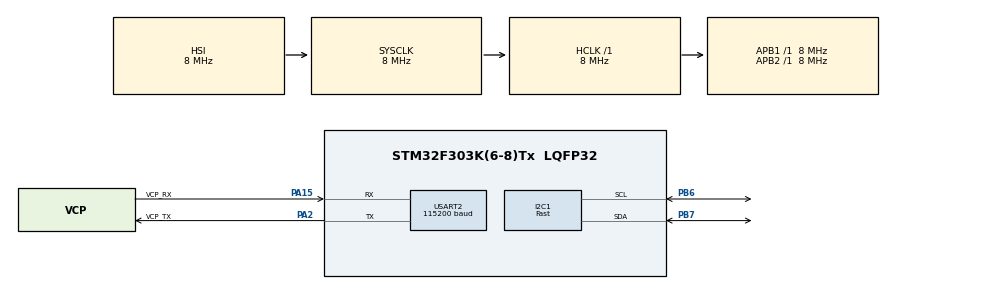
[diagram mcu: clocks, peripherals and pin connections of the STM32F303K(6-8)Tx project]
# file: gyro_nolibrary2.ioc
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I2C1.I2C_Speed_Mode=I2C_Fast
I2C1.Timing=0x0000020B
Mcu.Family=STM32F3
Mcu.Name=STM32F303K(6-8)Tx
Mcu.Package=LQFP32
NVIC.I2C1_ER_IRQn=true\:0\:0\:false\:false\:true\:true\:true\:true
NVIC.I2C1_EV_IRQn=true\:0\:0\:false\:false\:true\:true\:true\:true
NVIC.PriorityGroup=NVIC_PRIORITYGROUP_4
PA13.GPIO_Label=SWDIO
PA13.Mode=Serial_Wire
PA13.Signal=SYS_JTMS-SWDIO
PA14.GPIO_Label=SWCLK
PA14.Mode=Serial_Wire
PA14.Signal=SYS_JTCK-SWCLK
PA15.GPIO_Label=VCP_RX
PA15.Mode=Asynchronous
PA15.Signal=USART2_RX
PA2.GPIO_Label=VCP_TX
PA2.Mode=Asynchronous
PA2.Signal=USART2_TX
PB6.Mode=I2C
PB6.Signal=I2C1_SCL
PB7.Mode=I2C
PB7.Signal=I2C1_SDA
PF0\ /\ OSC_IN.GPIO_Label=MCO
PF0\ /\ OSC_IN.Mode=HSE-External-Clock-Source
PF0\ /\ OSC_IN.Signal=RCC_OSC_IN
ProjectManager.HeapSize=0x200
ProjectManager.StackSize=0x400
ProjectManager.TargetToolchain=STM32CubeIDE
RCC.AHBFreq_Value=8000000
RCC.APB1Freq_Value=8000000
RCC.APB2Freq_Value=8000000
RCC.CortexFreq_Value=8000000
RCC.HSE_VALUE=8000000
RCC.HSI_VALUE=8000000
RCC.SYSCLKFreq_VALUE=8000000
USART2.BaudRate=115200
USART2.VirtualMode-Asynchronous=VM_ASYNC
board=NUCLEO-F303K8

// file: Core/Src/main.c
/* USER CODE BEGIN Header */
/**
 ******************************************************************************
 * @file           : main.c
 * @brief          : Main program body
 ******************************************************************************
 * @attention
 *
 * Copyright (c) 2024 STMicroelectronics.
 * All rights reserved.
 *
 * This software is licensed under terms that can be found in the LICENSE file
 * in the root directory of this software component.
 * If no LICENSE file comes with this software, it is provided AS-IS.
 *
 ******************************************************************************
 */
/* USER CODE END Header */
#include "main.h"

I2C_HandleTypeDef hi2c1;

UART_HandleTypeDef huart2;

void SystemClock_Config(void);
static void MX_GPIO_Init(void);
static void MX_USART2_UART_Init(void);
static void MX_I2C1_Init(void);

int main(void) {

	/* MCU Configuration--------------------------------------------------------*/

	/* Reset of all peripherals, Initializes the Flash interface and the Systick. */
	HAL_Init();

	/* Configure the system clock */
	SystemClock_Config();

	/* Initialize all configured peripherals */
	MX_GPIO_Init();
	MX_USART2_UART_Init();
	MX_I2C1_Init();
	/* USER CODE BEGIN 2 */
	uint8_t buff;
	int intbuff=200;
	int number;
	char str[100];
	/* USER CODE END 2 */

	/* Infinite loop */
	/* USER CODE BEGIN WHILE */
	HAL_StatusTypeDef res;
	for (uint16_t i = 0; i < 128; i++) {
		res = HAL_I2C_IsDeviceReady(&hi2c1, i << 1, 1, 100);
		if (res == HAL_OK) {
			char msg[64];
			snprintf(msg, sizeof(msg), "0x%02X\r\n", i);
//			HAL_UART_Transmit(&huart2, (uint8_t*) msg, strlen(msg),
//			1000);
			number = i;
		}
	}
	HAL_StatusTypeDef res2;
	HAL_UART_Transmit(&huart2, (uint8_t*) "a", 10, 1);
	//HAL_Delay(10);
	//res2 = HAL_I2C_Mem_Read(&hi2c1, number, 0x6B, 8, buff, 1, 1000);
	if (1) {
				//intbuff = (int)buff;
				sprintf(str, "%d\n\r", intbuff);
				HAL_UART_Transmit(&huart2, &str, strlen(str), 1000);
		//		HAL_UART_Transmit(&huart2, (uint8_t*) "get\r\n", 5, 1000);
		//char msg[64];
		//HAL_UART_Transmit(&huart2, (uint8_t*) "get\r\n", 5, 1000);
	}
	while (1) {
//		res2 = HAL_I2C_Mem_Read(&hi2c1, number, 0x6B, 8, buff, 1, 1000);
//		if (res2 == HAL_OK) {
//			//char msg[64];
//			HAL_UART_Transmit(&huart2, (uint8_t*) "canget\r\n", 15, 1000);
//		}else{
//			HAL_UART_Transmit(&huart2, (uint8_t*) "error\r\n", 15, 1000);
//			while(1){}
//		}
	}
	/* USER CODE END WHILE */

}

void SystemClock_Config(void) {
	RCC_OscInitTypeDef RCC_OscInitStruct = { 0 };
	RCC_ClkInitTypeDef RCC_ClkInitStruct = { 0 };
	RCC_PeriphCLKInitTypeDef PeriphClkInit = { 0 };

	/** Initializes the RCC Oscillators according to the specified parameters
	 * in the RCC_OscInitTypeDef structure.
	 */
	RCC_OscInitStruct.OscillatorType = RCC_OSCILLATORTYPE_HSI;
	RCC_OscInitStruct.HSIState = RCC_HSI_ON;
	RCC_OscInitStruct.HSICalibrationValue = RCC_HSICALIBRATION_DEFAULT;
	RCC_OscInitStruct.PLL.PLLState = RCC_PLL_NONE;
	if (HAL_RCC_OscConfig(&RCC_OscInitStruct) != HAL_OK) {
		Error_Handler();
	}

	/** Initializes the CPU, AHB and APB buses clocks
	 */
	RCC_ClkInitStruct.ClockType = RCC_CLOCKTYPE_HCLK | RCC_CLOCKTYPE_SYSCLK
			| RCC_CLOCKTYPE_PCLK1 | RCC_CLOCKTYPE_PCLK2;
	RCC_ClkInitStruct.SYSCLKSource = RCC_SYSCLKSOURCE_HSI;
	RCC_ClkInitStruct.AHBCLKDivider = RCC_SYSCLK_DIV1;
	RCC_ClkInitStruct.APB1CLKDivider = RCC_HCLK_DIV1;
	RCC_ClkInitStruct.APB2CLKDivider = RCC_HCLK_DIV1;

	if (HAL_RCC_ClockConfig(&RCC_ClkInitStruct, FLASH_LATENCY_0) != HAL_OK) {
		Error_Handler();
	}
	PeriphClkInit.PeriphClockSelection = RCC_PERIPHCLK_I2C1;
	PeriphClkInit.I2c1ClockSelection = RCC_I2C1CLKSOURCE_HSI;
	if (HAL_RCCEx_PeriphCLKConfig(&PeriphClkInit) != HAL_OK) {
		Error_Handler();
	}
}

static void MX_I2C1_Init(void) {

	hi2c1.Instance = I2C1;
	hi2c1.Init.Timing = 0x0000020B;
	hi2c1.Init.OwnAddress1 = 0;
	hi2c1.Init.AddressingMode = I2C_ADDRESSINGMODE_7BIT;
	hi2c1.Init.DualAddressMode = I2C_DUALADDRESS_DISABLE;
	hi2c1.Init.OwnAddress2 = 0;
	hi2c1.Init.OwnAddress2Masks = I2C_OA2_NOMASK;
	hi2c1.Init.GeneralCallMode = I2C_GENERALCALL_DISABLE;
	hi2c1.Init.NoStretchMode = I2C_NOSTRETCH_DISABLE;
	if (HAL_I2C_Init(&hi2c1) != HAL_OK) {
		Error_Handler();
	}

	/** Configure Analogue filter
	 */
	if (HAL_I2CEx_ConfigAnalogFilter(&hi2c1, I2C_ANALOGFILTER_ENABLE)
			!= HAL_OK) {
		Error_Handler();
	}

	/** Configure Digital filter
	 */
	if (HAL_I2CEx_ConfigDigitalFilter(&hi2c1, 0) != HAL_OK) {
		Error_Handler();
	}

}

static void MX_USART2_UART_Init(void) {

	huart2.Instance = USART2;
	huart2.Init.BaudRate = 115200;
	huart2.Init.WordLength = UART_WORDLENGTH_8B;
	huart2.Init.StopBits = UART_STOPBITS_1;
	huart2.Init.Parity = UART_PARITY_NONE;
	huart2.Init.Mode = UART_MODE_TX_RX;
	huart2.Init.HwFlowCtl = UART_HWCONTROL_NONE;
	huart2.Init.OverSampling = UART_OVERSAMPLING_16;
	huart2.Init.OneBitSampling = UART_ONE_BIT_SAMPLE_DISABLE;
	huart2.AdvancedInit.AdvFeatureInit = UART_ADVFEATURE_NO_INIT;
	if (HAL_UART_Init(&huart2) != HAL_OK) {
		Error_Handler();
	}

}

static void MX_GPIO_Init(void) {

	/* GPIO Ports Clock Enable */
	__HAL_RCC_GPIOF_CLK_ENABLE();
	__HAL_RCC_GPIOA_CLK_ENABLE();
	__HAL_RCC_GPIOB_CLK_ENABLE();

}

void Error_Handler(void) {
	__disable_irq();
	while (1) {
	}
}
